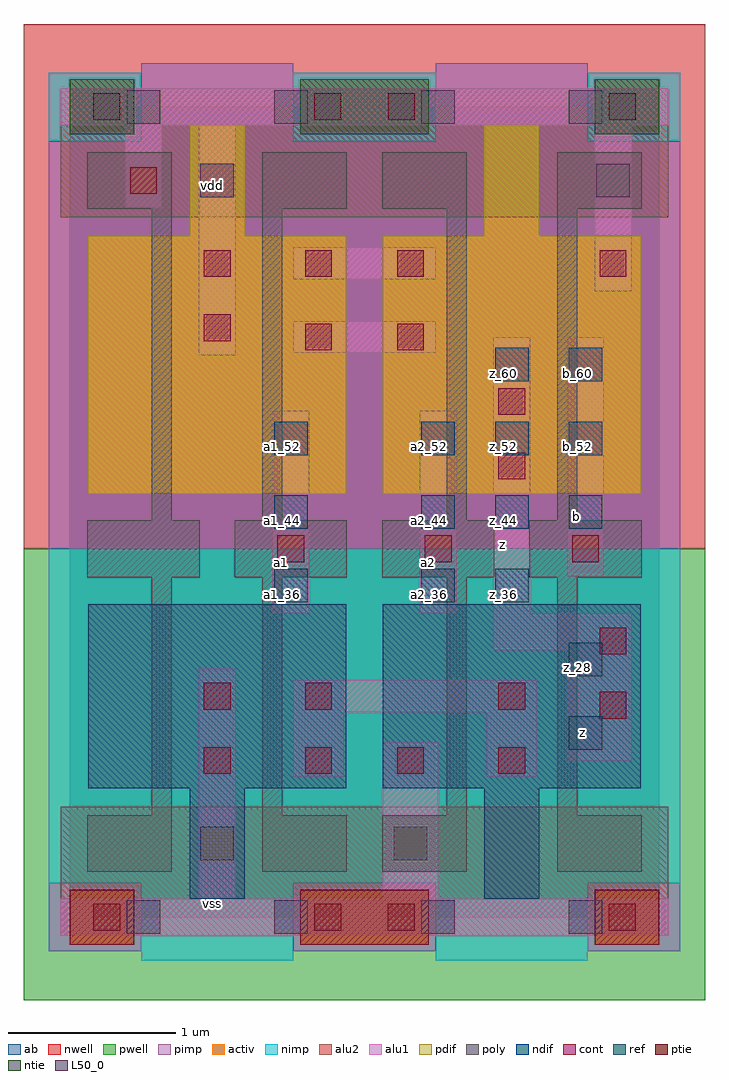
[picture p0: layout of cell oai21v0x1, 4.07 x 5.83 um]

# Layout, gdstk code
import gdstk
lib = gdstk.Library(unit=1e-6, precision=2.5e-09)
def R(c, l, rs):  # rectangles x0, y0, x1, y1
    for r in rs: c.add(gdstk.rectangle(r[:2], r[2:], *l))
def A(c, l, x, y, w, h, nx, ny, dx, dy):  # array of equal rectangles
    R(c, l, [(x+i*dx, y+j*dy, x+i*dx+w, y+j*dy+h) for i in range(nx) for j in range(ny)])
ndif = (3, 0)
pdif = (4, 0)
ntie = (5, 0)
ptie = (6, 0)
ref = (24, 0)
cont = (25, 0)
pwell = (41, 0)
nwell = (42, 0)
activ = (43, 0)
pimp = (44, 0)
nimp = (45, 0)
poly = (46, 0)
alu1 = (49, 0)
L50_0 = (50, 0)
alu2 = (51, 0)
ab = (63, 0)

oai21v0x1 = lib.new_cell('oai21v0x1')
R(oai21v0x1, ndif, [(0.715,0.11,1.045,0.77), (2.475,0.11,2.805,0.77), (0.11,0.77,1.65,1.87), (1.87,0.77,3.41,1.87)])
R(oai21v0x1, pdif, [(0.11,2.53,1.65,4.07), (1.87,2.53,3.41,4.07), (0.715,4.07,1.045,4.73), (2.475,4.07,2.805,4.73)])
R(oai21v0x1, ntie, [(0,4.675,0.385,5.005), (1.375,4.675,2.145,5.005), (3.135,4.675,3.52,5.005)])
R(oai21v0x1, ptie, [(0,-0.165,0.385,0.165), (1.375,-0.165,2.145,0.165), (3.135,-0.165,3.52,0.165)])
A(oai21v0x1, ref, 1.22, 1.88, 0.2, 0.2, 1, 3, 0, 0.44)
A(oai21v0x1, ref, 2.1, 2.32, 0.2, 0.2, 3, 2, 0.44, 0.44)
R(oai21v0x1, ref, [(2.98,1,3.18,1.2), (2.98,1.44,3.18,1.64), (2.1,1.88,2.3,2.08), (2.54,1.88,2.74,2.08), (2.54,3.2,2.74,3.4), (2.98,3.2,3.18,3.4)])
A(oai21v0x1, cont, 1.24, 2.12, 0.16, 0.16, 3, 1, 0.88, 0)
R(oai21v0x1, cont, [(0.14,-0.08,0.3,0.08), (1.46,-0.08,1.62,0.08), (1.9,-0.08,2.06,0.08), (3.22,-0.08,3.38,0.08), (0.8,0.855,0.96,1.015), (1.405,0.855,1.565,1.015), (1.955,0.855,2.115,1.015), (2.56,0.855,2.72,1.015), (3.165,1.185,3.325,1.345), (0.8,1.24,0.96,1.4), (1.405,1.24,1.565,1.4), (2.56,1.24,2.72,1.4), (3.165,1.57,3.325,1.73), (2.56,2.615,2.72,2.775), (2.56,3,2.72,3.16), (1.405,3.385,1.565,3.545), (1.955,3.385,2.115,3.545), (0.8,3.44,0.96,3.6), (0.8,3.825,0.96,3.985), (1.405,3.825,1.565,3.985), (1.955,3.825,2.115,3.985), (3.165,3.825,3.325,3.985), (0.36,4.32,0.52,4.48), (0.14,4.76,0.3,4.92), (1.46,4.76,1.62,4.92), (1.9,4.76,2.06,4.92), (3.22,4.76,3.38,4.92)])
R(oai21v0x1, pwell, [(-0.275,-0.495,3.795,2.2)])
R(oai21v0x1, nwell, [(-0.275,2.2,3.795,5.335)])
R(oai21v0x1, activ, [(0,-0.165,0.385,0.165), (1.375,-0.165,2.145,0.165), (3.135,-0.165,3.52,0.165), (0.715,0.11,1.045,0.77), (2.475,0.11,2.805,0.77), (0.11,0.77,1.65,1.87), (1.87,0.77,3.41,1.87), (0.11,2.53,1.65,4.07), (1.87,2.53,3.41,4.07), (0.715,4.07,1.045,4.73), (2.475,4.07,2.805,4.73), (0,4.675,0.385,5.005), (1.375,4.675,2.145,5.005), (3.135,4.675,3.52,5.005)])
R(oai21v0x1, pimp, [(-0.125,-0.205,0.425,0.205), (1.335,-0.205,2.185,0.205), (3.095,-0.205,3.645,0.205), (-0.125,2.2,3.645,4.635), (0.425,4.635,1.335,5.1), (2.185,4.635,3.095,5.1)])
R(oai21v0x1, nimp, [(0.425,-0.26,1.335,0.205), (2.185,-0.26,3.095,0.205), (-0.125,0.205,3.645,2.2), (-0.125,4.635,0.425,5.045), (1.335,4.635,2.185,5.045), (3.095,4.635,3.645,5.045)])
A(oai21v0x1, poly, 0.105, 2.03, 0.67, 0.34, 4, 1, 0.88, 0)
R(oai21v0x1, poly, [(0.105,0.27,0.61,0.61), (1.15,0.27,1.655,0.61), (1.865,0.27,2.37,0.61), (2.91,0.27,3.415,0.61), (0.49,0.61,0.61,2.03), (1.15,0.61,1.27,2.03), (2.25,0.61,2.37,2.03), (2.91,0.61,3.03,2.03), (0.49,2.37,0.61,4.23), (1.15,2.37,1.27,4.23), (2.25,2.37,2.37,4.23), (2.91,2.37,3.03,4.23), (0.105,4.23,0.61,4.57), (1.15,4.23,1.655,4.57), (1.865,4.23,2.37,4.57), (2.91,4.23,3.415,4.57)])
R(oai21v0x1, alu1, [(-0.055,-0.11,3.575,0.11), (0.77,0.11,0.99,1.485), (1.87,0.11,2.2,1.045), (1.335,0.84,1.635,1.225), (2.49,0.84,2.79,1.225), (2.97,0.935,3.355,1.595), (1.335,1.225,2.79,1.415), (2.53,1.595,3.355,1.815), (1.21,1.815,1.43,3.025), (2.09,1.815,2.31,3.025), (2.53,1.815,2.75,3.465), (2.97,2.035,3.19,3.465), (0.77,3.355,0.99,4.73), (1.335,3.37,2.185,3.56), (3.135,3.74,3.355,4.73), (1.335,3.81,2.185,4), (0.33,4.235,0.55,4.73), (-0.055,4.73,3.575,4.95)])
A(oai21v0x1, L50_0, 0.34, -0.1, 0.2, 0.2, 4, 2, 0.88, 4.84)
R(oai21v0x1, L50_0, [(0.78,0.34,0.98,0.54), (1.935,0.34,2.135,0.54), (0.78,4.3,0.98,4.5), (3.145,4.3,3.345,4.5)])
R(oai21v0x1, alu2, [(-0.055,-0.11,3.575,0.66), (-0.055,4.18,3.575,4.95)])
R(oai21v0x1, ab, [(0,0,3.52,4.84)])
oai21v0x1.add(gdstk.Label('z', (3.065,1.1), layer=49, texttype=0))
oai21v0x1.add(gdstk.Label('b', (3.025,2.3925), layer=49, texttype=0))
oai21v0x1.add(gdstk.Label('z', (2.585,2.2275), layer=49, texttype=0))
oai21v0x1.add(gdstk.Label('a2', (2.145,2.1175), layer=49, texttype=0))
oai21v0x1.add(gdstk.Label('a1', (1.265,2.1175), layer=49, texttype=0))
oai21v0x1.add(gdstk.Label('vss', (0.8525,0.0825), layer=51, texttype=0))
oai21v0x1.add(gdstk.Label('vdd', (0.8525,4.3725), layer=51, texttype=0))
oai21v0x1.add(gdstk.Label('a2_52', (2.15,2.81), layer=24, texttype=0))
oai21v0x1.add(gdstk.Label('a2_44', (2.15,2.37), layer=24, texttype=0))
oai21v0x1.add(gdstk.Label('a2_36', (2.15,1.93), layer=24, texttype=0))
oai21v0x1.add(gdstk.Label('z_60', (2.59,3.25), layer=24, texttype=0))
oai21v0x1.add(gdstk.Label('z_52', (2.59,2.81), layer=24, texttype=0))
oai21v0x1.add(gdstk.Label('z_44', (2.59,2.37), layer=24, texttype=0))
oai21v0x1.add(gdstk.Label('z_36', (2.59,1.93), layer=24, texttype=0))
oai21v0x1.add(gdstk.Label('z_28', (3.03,1.49), layer=24, texttype=0))
oai21v0x1.add(gdstk.Label('z_20', (3.03,1.05), layer=24, texttype=0))
oai21v0x1.add(gdstk.Label('b_44', (3.03,2.37), layer=24, texttype=0))
oai21v0x1.add(gdstk.Label('a1_52', (1.27,2.81), layer=24, texttype=0))
oai21v0x1.add(gdstk.Label('b_52', (3.03,2.81), layer=24, texttype=0))
oai21v0x1.add(gdstk.Label('b_60', (3.03,3.25), layer=24, texttype=0))
oai21v0x1.add(gdstk.Label('a1_36', (1.27,1.93), layer=24, texttype=0))
oai21v0x1.add(gdstk.Label('a1_44', (1.27,2.37), layer=24, texttype=0))

lib.write_gds('oai21v0x1.gds')
